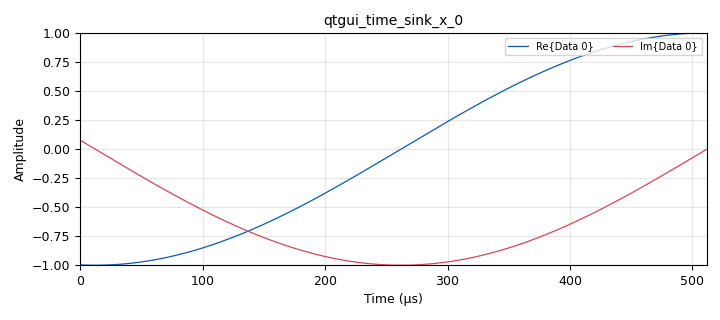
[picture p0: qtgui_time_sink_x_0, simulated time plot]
options:
  parameters:
    author: yyq
    generate_options: qt_gui
    generator_class_name: PythonQtGuiGenerator
    generator_module: gnuradio.grc.workflows.python_qt_gui
    id: udp
    output_language: python
    title: Not titled yet
  states: {}

blocks:
- name: samp_rate
  id: variable
  parameters:
    value: '2000000'
  states: {}
- name: analog_sig_source_x_0
  id: analog_sig_source_x
  parameters:
    amp: '1'
    freq: '1000'
    offset: '0'
    phase: '0'
    samp_rate: samp_rate
    type: complex
    waveform: analog.GR_COS_WAVE
  states: {}
- name: blocks_complex_to_interleaved_char_0
  id: blocks_complex_to_interleaved_char
  parameters:
    scale_factor: '127'
    vector_output: 'False'
  states: {state: disabled}
- name: blocks_complex_to_interleaved_short_0
  id: blocks_complex_to_interleaved_short
  parameters:
    scale_factor: '20000'
    vector_output: 'False'
  states: {state: disabled}
- name: blocks_file_source_0
  id: blocks_file_source
  parameters:
    file: D:\SDRangel\test.sdriq
    repeat: 'True'
    type: byte
  states: {state: disabled}
- name: blocks_float_to_complex_0
  id: blocks_float_to_complex
  parameters: {}
  states: {state: disabled}
- name: blocks_throttle2_0
  id: blocks_throttle2
  parameters:
    samples_per_second: samp_rate
    type: complex
  states: {state: disabled}
- name: blocks_throttle2_0_0
  id: blocks_throttle2
  parameters:
    samples_per_second: samp_rate*16
    type: byte
  states: {state: disabled}
- name: blocks_throttle2_1
  id: blocks_throttle2
  parameters:
    samples_per_second: samp_rate
    type: complex
  states: {}
- name: blocks_wavfile_source_0
  id: blocks_wavfile_source
  parameters:
    file: D:\Users\yyqwin10\Downloads\fy4\2026-09-17_11-08-55_2600000SPS_1697000000Hz.wav
    nchan: '2'
    repeat: 'True'
  states: {state: disabled}
- name: import_0
  id: import
  parameters:
    imports: import pmt
  states: {state: disabled}
- name: network_udp_sink_0
  id: network_udp_sink
  parameters:
    addr: 192.168.0.199
    header: '0'
    payloadsize: '1472'
    port: '7355'
    send_eof: 'False'
    type: byte
  states: {state: disabled}
- name: network_udp_source_0
  id: network_udp_source
  parameters:
    header: '0'
    ipv6: 'False'
    notify_missed: 'False'
    port: '1234'
    src_zeros: 'False'
    type: byte
  states: {state: disabled}
- name: qtgui_time_sink_x_0
  id: qtgui_time_sink_x
  parameters:
    size: '1024'
    srate: samp_rate
    type: complex
  states: {}

connections:
- [analog_sig_source_x_0, '0', blocks_throttle2_1, '0']
- [blocks_complex_to_interleaved_char_0, '0', network_udp_sink_0, '0']
- [blocks_complex_to_interleaved_short_0, '0', network_udp_sink_0, '0']
- [blocks_file_source_0, '0', blocks_throttle2_0_0, '0']
- [blocks_float_to_complex_0, '0', blocks_throttle2_0, '0']
- [blocks_throttle2_0, '0', blocks_complex_to_interleaved_char_0, '0']
- [blocks_throttle2_0, '0', blocks_complex_to_interleaved_short_0, '0']
- [blocks_throttle2_0_0, '0', network_udp_sink_0, '0']
- [blocks_throttle2_1, '0', qtgui_time_sink_x_0, '0']
- [blocks_wavfile_source_0, '0', blocks_float_to_complex_0, '0']
- [blocks_wavfile_source_0, '1', blocks_float_to_complex_0, '1']
- [network_udp_source_0, '0', network_udp_sink_0, '0']

metadata:
  file_format: 1
  grc_version: 3.11.0.0-zhcn
